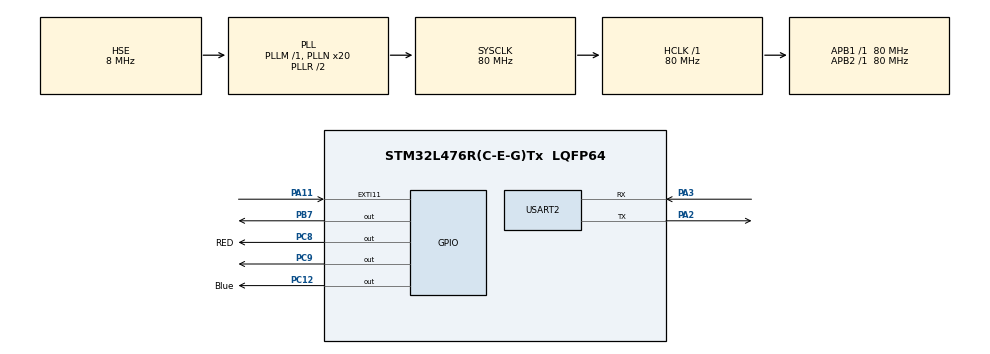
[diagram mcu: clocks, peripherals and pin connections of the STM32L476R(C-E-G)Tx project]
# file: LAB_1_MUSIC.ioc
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Mcu.Family=STM32L4
Mcu.Name=STM32L476R(C-E-G)Tx
Mcu.Package=LQFP64
NVIC.EXTI15_10_IRQn=true\:4\:0\:true\:false\:true\:true\:true\:true
NVIC.PriorityGroup=NVIC_PRIORITYGROUP_4
NVIC.TIM2_IRQn=true\:0\:0\:false\:false\:true\:true\:true\:true
PA11.Signal=GPXTI11
PA13\ (JTMS-SWDIO).Mode=Serial_Wire
PA13\ (JTMS-SWDIO).Signal=SYS_JTMS-SWDIO
PA14\ (JTCK-SWCLK).Mode=Serial_Wire
PA14\ (JTCK-SWCLK).Signal=SYS_JTCK-SWCLK
PA2.Mode=Asynchronous
PA2.Signal=USART2_TX
PA3.Mode=Asynchronous
PA3.Signal=USART2_RX
PB7.GPIO_Speed=GPIO_SPEED_FREQ_VERY_HIGH
PB7.Signal=GPIO_Output
PC12.GPIO_Label=Blue
PC12.GPIO_Speed=GPIO_SPEED_FREQ_HIGH
PC12.PinState=GPIO_PIN_SET
PC12.Signal=GPIO_Output
PC8.GPIO_Label=RED
PC8.GPIO_Speed=GPIO_SPEED_FREQ_HIGH
PC8.PinState=GPIO_PIN_SET
PC8.Signal=GPIO_Output
PC9.Signal=GPIO_Output
PH0-OSC_IN\ (PH0).Mode=HSE-External-Oscillator
PH0-OSC_IN\ (PH0).Signal=RCC_OSC_IN
PH1-OSC_OUT\ (PH1).Mode=HSE-External-Oscillator
PH1-OSC_OUT\ (PH1).Signal=RCC_OSC_OUT
ProjectManager.HeapSize=0x200
ProjectManager.StackSize=0x400
ProjectManager.TargetToolchain=STM32CubeIDE
RCC.ADCFreq_Value=32000000
RCC.AHBFreq_Value=80000000
RCC.APB1Freq_Value=80000000
RCC.APB1TimFreq_Value=80000000
RCC.APB2Freq_Value=80000000
RCC.APB2TimFreq_Value=80000000
RCC.CortexFreq_Value=80000000
RCC.HCLKFreq_Value=80000000
RCC.HSE_VALUE=8000000
RCC.HSI_VALUE=16000000
RCC.LSE_VALUE=32768
RCC.MSI_VALUE=4000000
RCC.PLLN=20
RCC.PLLSourceVirtual=RCC_PLLSOURCE_HSE
RCC.SYSCLKFreq_VALUE=80000000
RCC.SYSCLKSource=RCC_SYSCLKSOURCE_PLLCLK
RCC.USBFreq_Value=32000000
RCC.VCOOutputFreq_Value=160000000
TIM2.CounterMode=TIM_COUNTERMODE_DOWN
TIM2.Period=2
TIM2.Prescaler=79
USART2.VirtualMode-Asynchronous=VM_ASYNC
VP_TIM2_VS_ClockSourceINT.Mode=Internal
board=custom

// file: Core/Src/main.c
/* USER CODE BEGIN Header */
/**
  ******************************************************************************
  * @file           : main.c
  * @brief          : Main program body
  ******************************************************************************
  * @attention
  *
  * Copyright (c) 2023 STMicroelectronics.
  * All rights reserved.
  *
  * This software is licensed under terms that can be found in the LICENSE file
  * in the root directory of this software component.
  * If no LICENSE file comes with this software, it is provided AS-IS.
  *
  ******************************************************************************
  */
/* USER CODE END Header */
#include "main.h"
#include "tim.h"
#include "usart.h"
#include "gpio.h"

/* USER CODE BEGIN Includes */
#include "music.h"
#include "mydelay.h"
#include "printf.h"
/* USER CODE END Includes */

void SystemClock_Config(void);

/* USER CODE BEGIN 0 */
uint8_t flag=0;

/* USER CODE END 0 */

int main(void)
{

  /* MCU Configuration--------------------------------------------------------*/

  /* Reset of all peripherals, Initializes the Flash interface and the Systick. */
  HAL_Init();

  /* Configure the system clock */
  SystemClock_Config();

  /* Initialize all configured peripherals */
  MX_GPIO_Init();
  MX_TIM2_Init();
  MX_USART2_UART_Init();

  /* Infinite loop */
  /* USER CODE BEGIN WHILE */
  while (1)
  {
	  HAL_GPIO_TogglePin(GPIOC, GPIO_PIN_8);
	  if(flag){
		  music_import(music1, time1);
	  }
	  else printf("qiu lao shi zui shuai!\r\n");
    /* USER CODE END WHILE */

  }
}

void SystemClock_Config(void)
{
  RCC_OscInitTypeDef RCC_OscInitStruct = {0};
  RCC_ClkInitTypeDef RCC_ClkInitStruct = {0};

  /** Configure the main internal regulator output voltage
  */
  if (HAL_PWREx_ControlVoltageScaling(PWR_REGULATOR_VOLTAGE_SCALE1) != HAL_OK)
  {
    Error_Handler();
  }

  /** Initializes the RCC Oscillators according to the specified parameters
  * in the RCC_OscInitTypeDef structure.
  */
  RCC_OscInitStruct.OscillatorType = RCC_OSCILLATORTYPE_HSE;
  RCC_OscInitStruct.HSEState = RCC_HSE_ON;
  RCC_OscInitStruct.PLL.PLLState = RCC_PLL_ON;
  RCC_OscInitStruct.PLL.PLLSource = RCC_PLLSOURCE_HSE;
  RCC_OscInitStruct.PLL.PLLM = 1;
  RCC_OscInitStruct.PLL.PLLN = 20;
  RCC_OscInitStruct.PLL.PLLP = RCC_PLLP_DIV7;
  RCC_OscInitStruct.PLL.PLLQ = RCC_PLLQ_DIV2;
  RCC_OscInitStruct.PLL.PLLR = RCC_PLLR_DIV2;
  if (HAL_RCC_OscConfig(&RCC_OscInitStruct) != HAL_OK)
  {
    Error_Handler();
  }

  /** Initializes the CPU, AHB and APB buses clocks
  */
  RCC_ClkInitStruct.ClockType = RCC_CLOCKTYPE_HCLK|RCC_CLOCKTYPE_SYSCLK
                              |RCC_CLOCKTYPE_PCLK1|RCC_CLOCKTYPE_PCLK2;
  RCC_ClkInitStruct.SYSCLKSource = RCC_SYSCLKSOURCE_PLLCLK;
  RCC_ClkInitStruct.AHBCLKDivider = RCC_SYSCLK_DIV1;
  RCC_ClkInitStruct.APB1CLKDivider = RCC_HCLK_DIV1;
  RCC_ClkInitStruct.APB2CLKDivider = RCC_HCLK_DIV1;

  if (HAL_RCC_ClockConfig(&RCC_ClkInitStruct, FLASH_LATENCY_4) != HAL_OK)
  {
    Error_Handler();
  }
}

/* USER CODE BEGIN 4 */
void HAL_GPIO_EXTI_Callback(uint16_t GPIO_Pin)
{
  if (GPIO_Pin == GPIO_PIN_11){

	  HAL_Delay(20);
	  if(HAL_GPIO_ReadPin(GPIOA, GPIO_PIN_11)==1){
		  flag=!flag;
		  if(flag){
			  HAL_GPIO_WritePin(Blue_GPIO_Port, Blue_Pin, 0);
		  }
		  else{
			  BEEPL();
			  HAL_GPIO_WritePin(Blue_GPIO_Port, Blue_Pin, 1);
			  HAL_TIM_Base_Stop(&htim2);
			  HAL_Delay(500);
			  while(HAL_GPIO_ReadPin(GPIOA, GPIO_PIN_11)==0){
				  HAL_Delay(1);
			  }
		  }

	  }
  }

}
/* USER CODE END 4 */

void Error_Handler(void)
{
  __disable_irq();
  while (1)
  {
  }
}
